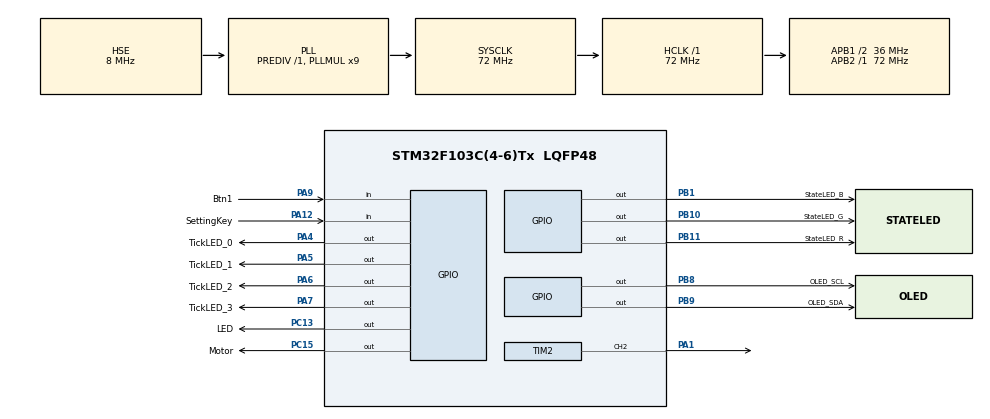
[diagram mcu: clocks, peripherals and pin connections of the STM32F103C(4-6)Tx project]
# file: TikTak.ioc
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Mcu.Family=STM32F1
Mcu.Name=STM32F103C(4-6)Tx
Mcu.Package=LQFP48
NVIC.PriorityGroup=NVIC_PRIORITYGROUP_4
NVIC.TIM2_IRQn=true\:3\:0\:true\:false\:true\:true\:true\:true
NVIC.TIM3_IRQn=true\:0\:0\:true\:false\:true\:true\:true\:true
PA1.Signal=S_TIM2_CH2
PA12.GPIO_Label=SettingKey
PA12.GPIO_PuPd=GPIO_PULLUP
PA12.Signal=GPIO_Input
PA13.Mode=Serial_Wire
PA13.Signal=SYS_JTMS-SWDIO
PA14.Mode=Serial_Wire
PA14.Signal=SYS_JTCK-SWCLK
PA4.GPIO_Label=TickLED_0
PA4.GPIO_ModeDefaultOutputPP=GPIO_MODE_OUTPUT_PP
PA4.GPIO_PuPd=GPIO_PULLDOWN
PA4.GPIO_Speed=GPIO_SPEED_FREQ_HIGH
PA4.PinState=GPIO_PIN_SET
PA4.Signal=GPIO_Output
PA5.GPIO_Label=TickLED_1
PA5.GPIO_ModeDefaultOutputPP=GPIO_MODE_OUTPUT_PP
PA5.GPIO_PuPd=GPIO_PULLDOWN
PA5.GPIO_Speed=GPIO_SPEED_FREQ_HIGH
PA5.PinState=GPIO_PIN_SET
PA5.Signal=GPIO_Output
PA6.GPIO_Label=TickLED_2
PA6.GPIO_ModeDefaultOutputPP=GPIO_MODE_OUTPUT_PP
PA6.GPIO_PuPd=GPIO_PULLDOWN
PA6.GPIO_Speed=GPIO_SPEED_FREQ_HIGH
PA6.PinState=GPIO_PIN_SET
PA6.Signal=GPIO_Output
PA7.GPIO_Label=TickLED_3
PA7.GPIO_ModeDefaultOutputPP=GPIO_MODE_OUTPUT_PP
PA7.GPIO_PuPd=GPIO_PULLDOWN
PA7.GPIO_Speed=GPIO_SPEED_FREQ_HIGH
PA7.PinState=GPIO_PIN_SET
PA7.Signal=GPIO_Output
PA9.GPIO_Label=Btn1
PA9.GPIO_PuPd=GPIO_PULLUP
PA9.Signal=GPIO_Input
PB1.GPIO_Label=StateLED_B
PB1.GPIO_ModeDefaultOutputPP=GPIO_MODE_OUTPUT_PP
PB1.GPIO_PuPd=GPIO_PULLDOWN
PB1.GPIO_Speed=GPIO_SPEED_FREQ_HIGH
PB1.PinState=GPIO_PIN_SET
PB1.Signal=GPIO_Output
PB10.GPIO_Label=StateLED_G
PB10.GPIO_ModeDefaultOutputPP=GPIO_MODE_OUTPUT_PP
PB10.GPIO_PuPd=GPIO_PULLDOWN
PB10.GPIO_Speed=GPIO_SPEED_FREQ_HIGH
PB10.PinState=GPIO_PIN_SET
PB10.Signal=GPIO_Output
PB11.GPIO_Label=StateLED_R
PB11.GPIO_ModeDefaultOutputPP=GPIO_MODE_OUTPUT_PP
PB11.GPIO_PuPd=GPIO_PULLDOWN
PB11.GPIO_Speed=GPIO_SPEED_FREQ_HIGH
PB11.PinState=GPIO_PIN_SET
PB11.Signal=GPIO_Output
PB8.GPIO_Label=OLED_SCL
PB8.GPIO_ModeDefaultOutputPP=GPIO_MODE_OUTPUT_PP
PB8.GPIO_PuPd=GPIO_PULLUP
PB8.GPIO_Speed=GPIO_SPEED_FREQ_HIGH
PB8.PinState=GPIO_PIN_SET
PB8.Signal=GPIO_Output
PB9.GPIO_Label=OLED_SDA
PB9.GPIO_ModeDefaultOutputPP=GPIO_MODE_OUTPUT_PP
PB9.GPIO_PuPd=GPIO_PULLUP
PB9.GPIO_Speed=GPIO_SPEED_FREQ_HIGH
PB9.PinState=GPIO_PIN_SET
PB9.Signal=GPIO_Output
PC13-TAMPER-RTC.GPIO_Label=LED
PC13-TAMPER-RTC.GPIO_ModeDefaultOutputPP=GPIO_MODE_OUTPUT_PP
PC13-TAMPER-RTC.GPIO_PuPd=GPIO_PULLUP
PC13-TAMPER-RTC.GPIO_Speed=GPIO_SPEED_FREQ_HIGH
PC13-TAMPER-RTC.PinState=GPIO_PIN_SET
PC13-TAMPER-RTC.Signal=GPIO_Output
PC15-OSC32_OUT.GPIO_Label=Motor
PC15-OSC32_OUT.GPIO_ModeDefaultOutputPP=GPIO_MODE_OUTPUT_PP
PC15-OSC32_OUT.GPIO_PuPd=GPIO_PULLDOWN
PC15-OSC32_OUT.GPIO_Speed=GPIO_SPEED_FREQ_HIGH
PC15-OSC32_OUT.PinState=GPIO_PIN_SET
PC15-OSC32_OUT.Signal=GPIO_Output
PD0-OSC_IN.Mode=HSE-External-Oscillator
PD0-OSC_IN.Signal=RCC_OSC_IN
PD1-OSC_OUT.Mode=HSE-External-Oscillator
PD1-OSC_OUT.Signal=RCC_OSC_OUT
ProjectManager.HeapSize=0x200
ProjectManager.StackSize=0x400
ProjectManager.TargetToolchain=STM32CubeIDE
RCC.AHBFreq_Value=72000000
RCC.APB1CLKDivider=RCC_HCLK_DIV2
RCC.APB1Freq_Value=36000000
RCC.APB1TimFreq_Value=72000000
RCC.APB2Freq_Value=72000000
RCC.APB2TimFreq_Value=72000000
RCC.HCLKFreq_Value=72000000
RCC.PLLMUL=RCC_PLL_MUL9
RCC.PLLSourceVirtual=RCC_PLLSOURCE_HSE
RCC.SYSCLKFreq_VALUE=72000000
RCC.SYSCLKSource=RCC_SYSCLKSOURCE_PLLCLK
RCC.USBFreq_Value=72000000
SH.S_TIM2_CH2.0=TIM2_CH2,PWM Generation2 CH2
TIM2.AutoReloadPreload=TIM_AUTORELOAD_PRELOAD_DISABLE
TIM2.Channel-PWM\ Generation2\ CH2=TIM_CHANNEL_2
TIM2.OCFastMode_PWM-PWM\ Generation2\ CH2=TIM_OCFAST_ENABLE
TIM2.OCMode_PWM-PWM\ Generation2\ CH2=TIM_OCMODE_PWM2
TIM2.OCPolarity_2=TIM_OCPOLARITY_LOW
TIM2.Period=1136
TIM2.Prescaler=72-1
TIM2.Pulse-PWM\ Generation2\ CH2=568
TIM2.TIM_MasterOutputTrigger=TIM_TRGO_RESET
TIM3.AutoReloadPreload=TIM_AUTORELOAD_PRELOAD_ENABLE
TIM3.Period=5000
TIM3.Prescaler=72-1
VP_TIM2_VS_ClockSourceINT.Mode=Internal
VP_TIM3_VS_ClockSourceINT.Mode=Internal
board=custom

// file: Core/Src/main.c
/* USER CODE BEGIN Header */
/**
  ******************************************************************************
  * @file           : main.c
  * @brief          : Main program body
  ******************************************************************************
  * @attention
  *
  * Copyright (c) 2023 STMicroelectronics.
  * All rights reserved.
  *
  * This software is licensed under terms that can be found in the LICENSE file
  * in the root directory of this software component.
  * If no LICENSE file comes with this software, it is provided AS-IS.
  *
  ******************************************************************************
  */
/* USER CODE END Header */
#include "main.h"
#include "tim.h"
#include "gpio.h"

/* USER CODE BEGIN PV */
#define SettingKey_id 0
#define Btn1_id 1
/* USER CODE END PV */

void SystemClock_Config(void);
/* USER CODE BEGIN PFP */
uint8_t App_State = 0;
struct Button Setting,Btn1;
uint8_t SettingFlag = 0,Setting_Next_Flag = 0;
uint8_t Btn1_AddFlag = 0,Value_Add_direction_flag = 1;
uint8_t display_flag = 0,Play_Flag = 1,Practice_Flag = 0;
uint8_t Practice_TIM_Res_Flag=0;
/* USER CODE END PFP */

/* USER CODE BEGIN 0 */
void display();
void display_Struct();
uint8_t State_Change_Check();
_Noreturn void Application();

uint8_t read_button_GPIO(uint8_t button_id)
{
    switch(button_id)
    {
        case SettingKey_id:
            return HAL_GPIO_ReadPin(SettingKey_GPIO_Port,SettingKey_Pin);
            break;
        case Btn1_id:
            return HAL_GPIO_ReadPin(Btn1_GPIO_Port,Btn1_Pin);
            break;
        default:
            return 0;
            break;
    }
}

void SettingKey_SINGLE_Click_Handler(void* btn)
{
    if(App_State == 1)
    {
        Setting_Next_Flag = 1;
    }
    else if(App_State == 0 || App_State==3)
    {
        Play_Flag = 0;
    }
    else if(App_State == 2 )
    {
        Play_Flag = 1;
    }
}
void SettingKey_DOUBLE_Click_Handler(void* btn)
{
    if(App_State !=0 && App_State !=1)return;
   if(SettingFlag == 0)
   {
       SettingFlag = 1;
//       OLED_Clear();
//       App_State = 1;
//       HAL_TIM_PWM_Stop_IT(&htim2,TIM_CHANNEL_2);
   }
   else
   {
       SettingFlag = 0;
//       OLED_Clear();
//       App_State = 0;
   }
}

void Btn1_SINGLE_Click_Handler(void* btn)
{

    if(App_State!=1)return;
    HAL_GPIO_TogglePin(LED_GPIO_Port,LED_Pin);
    Btn1_AddFlag = 1;
}
void Btn1_LONG_PRESS_HOLD_Handler(void *btn)
{
    if(App_State!=1)return;
//    HAL_GPIO_TogglePin(LED_GPIO_Port,LED_Pin);
    Btn1_AddFlag = 1;
}
void Btn1_DOUBLE_Click_Handler(void * btn)
{
    if(App_State == 1)
    {
        Value_Add_direction_flag = !Value_Add_direction_flag;
    }
    else if(App_State == 0 || App_State == 3)
    {
        Practice_Flag = 1;
    }
}
/* USER CODE END 0 */

int main(void)
{

  /* MCU Configuration--------------------------------------------------------*/

  /* Reset of all peripherals, Initializes the Flash interface and the Systick. */
  HAL_Init();

  /* Configure the system clock */
  SystemClock_Config();

  /* Initialize all configured peripherals */
  MX_GPIO_Init();
  MX_TIM2_Init();
  MX_TIM3_Init();
  /* USER CODE BEGIN 2 */

    button_init(&Setting,read_button_GPIO,1,SettingKey_id);
    button_attach(&Setting,SINGLE_CLICK,SettingKey_SINGLE_Click_Handler);
    button_attach(&Setting,DOUBLE_CLICK,SettingKey_DOUBLE_Click_Handler);

    button_start(&Setting);

    button_init(&Btn1,read_button_GPIO,1,Btn1_id);
    button_attach(&Btn1,SINGLE_CLICK,Btn1_SINGLE_Click_Handler);
    button_attach(&Btn1,LONG_PRESS_HOLD,Btn1_LONG_PRESS_HOLD_Handler);
    button_attach(&Btn1,DOUBLE_CLICK,Btn1_DOUBLE_Click_Handler);
    button_start(&Btn1);

    Tick_Init();
    HAL_TIM_Base_Start_IT(&htim3);

    OLED_Init();
    OLED_ShowString(2,5,"Hello");
    HAL_Delay(2000);
    OLED_Clear();
    Application();
  /* USER CODE END 2 */

  /* Infinite loop */
  while (1)
  {

  }
}

void SystemClock_Config(void)
{
  RCC_OscInitTypeDef RCC_OscInitStruct = {0};
  RCC_ClkInitTypeDef RCC_ClkInitStruct = {0};

  /** Initializes the RCC Oscillators according to the specified parameters
  * in the RCC_OscInitTypeDef structure.
  */
  RCC_OscInitStruct.OscillatorType = RCC_OSCILLATORTYPE_HSE;
  RCC_OscInitStruct.HSEState = RCC_HSE_ON;
  RCC_OscInitStruct.HSEPredivValue = RCC_HSE_PREDIV_DIV1;
  RCC_OscInitStruct.HSIState = RCC_HSI_ON;
  RCC_OscInitStruct.PLL.PLLState = RCC_PLL_ON;
  RCC_OscInitStruct.PLL.PLLSource = RCC_PLLSOURCE_HSE;
  RCC_OscInitStruct.PLL.PLLMUL = RCC_PLL_MUL9;
  if (HAL_RCC_OscConfig(&RCC_OscInitStruct) != HAL_OK)
  {
    Error_Handler();
  }

  /** Initializes the CPU, AHB and APB buses clocks
  */
  RCC_ClkInitStruct.ClockType = RCC_CLOCKTYPE_HCLK|RCC_CLOCKTYPE_SYSCLK
                              |RCC_CLOCKTYPE_PCLK1|RCC_CLOCKTYPE_PCLK2;
  RCC_ClkInitStruct.SYSCLKSource = RCC_SYSCLKSOURCE_PLLCLK;
  RCC_ClkInitStruct.AHBCLKDivider = RCC_SYSCLK_DIV1;
  RCC_ClkInitStruct.APB1CLKDivider = RCC_HCLK_DIV2;
  RCC_ClkInitStruct.APB2CLKDivider = RCC_HCLK_DIV1;

  if (HAL_RCC_ClockConfig(&RCC_ClkInitStruct, FLASH_LATENCY_2) != HAL_OK)
  {
    Error_Handler();
  }
}

/* USER CODE BEGIN 4 */

_Noreturn void Application()
{
    while (1)
    {
        static uint8_t star_flag = 0;
        switch(App_State){
            case 0:  //run
                if(star_flag == 0)
                {
//                    OLED_Clear();
                    SettingBuff[0] = Nc;
                    SettingBuff[1] = Nd;
                    SettingBuff[2] = BPM;
                    star_flag = 1;   //already
                    display_flag = 1;
                    time_flag = 1;
                    Practice_TIM_Res_Flag = 0;

                    HAL_TIM_PWM_Start_IT(&htim2,TIM_CHANNEL_2);
                    HAL_GPIO_WritePin(StateLED_G_GPIO_Port,StateLED_G_Pin,GPIO_PIN_SET);
                    HAL_GPIO_WritePin(StateLED_B_GPIO_Port,StateLED_B_Pin,GPIO_PIN_RESET);
                    HAL_GPIO_WritePin(StateLED_R_GPIO_Port,StateLED_R_Pin,GPIO_PIN_RESET);
                    continue;
                }
                if(SettingFlag == 1)
                {
                    App_State = 1;
                    SettingFlag = 0;
                    continue;
                }

                if(Play_Flag == 0)
                {
                    App_State = 2;
                    continue;
                }
                if(Practice_Flag)
                {
                    App_State = 3;
                    Practice_Flag = 0;
                    continue;
                }

                break;
            case 1:   //setting
                time_flag = 0; //stop counting time
                HAL_TIM_PWM_Stop_IT(&htim2,TIM_CHANNEL_2);
                if(SettingFlag == 1)
                {
//                    OLED_Clear();
                    setTick(SettingBuff[0],SettingBuff[1],SettingBuff[2]);

                    App_State = 0;
                    SettingFlag = 0;
                }
                if(Setting_Next_Flag )
                {
                    Setting_FixIndex++;
                    Setting_FixIndex%=5;
                    Setting_Next_Flag = 0;
//                    OLED_Clear();
                }
                if(Btn1_AddFlag == 1)
                {
                    switch (Setting_FixIndex) {
                        case 0:
                            if(Value_Add_direction_flag)
                            {
                                SettingBuff[Setting_FixIndex]++;
                                if(SettingBuff[Setting_FixIndex]>16)
                                {
                                    SettingBuff[Setting_FixIndex] = 1;
                                }
                            }
                            else
                            {
                                SettingBuff[Setting_FixIndex]--;
                                if(SettingBuff[Setting_FixIndex]==0)
                                {
                                    SettingBuff[Setting_FixIndex] = 16;
                                }
                            }

                            break;
                        case 1:
                            if(Value_Add_direction_flag)
                            {
                                SettingBuff[Setting_FixIndex] =  SettingBuff[Setting_FixIndex] << 1;
                                if( SettingBuff[Setting_FixIndex] > 16)
                                {
                                    SettingBuff[Setting_FixIndex] = 2;
                                }
                            }
                            else
                            {
                                SettingBuff[Setting_FixIndex] =  SettingBuff[Setting_FixIndex] >> 1;
                                if( SettingBuff[Setting_FixIndex] < 2)
                                {
                                    SettingBuff[Setting_FixIndex] = 16;
                                }
                            }
                            break;
                        case 2:
                            if(Value_Add_direction_flag)
                            {
                                SettingBuff[Setting_FixIndex]++;
                                if( SettingBuff[Setting_FixIndex] >=400)
                                {
                                    SettingBuff[Setting_FixIndex] = 400;
                                }
                            }
                            else
                            {
                                SettingBuff[Setting_FixIndex]--;
                                if( SettingBuff[Setting_FixIndex] <=20)
                                {
                                    SettingBuff[Setting_FixIndex] = 20;
                                }
                            }

                            break;
                        case 3:
                            if(Value_Add_direction_flag)
                            {

                                SettingBuff[3]++;
                                SettingBuff[3] %= SettingBuff[0];
//                                if( SettingBuff[Setting_FixIndex] > SettingBuff[0])
//                                {
//                                    SettingBuff[Setting_FixIndex] = 1;
//                                }
                            }
                            else
                            {
                                if( SettingBuff[3] <=0)
                                {
                                    SettingBuff[3] = SettingBuff[0]-1;
                                }
                                else
                                {
                                    SettingBuff[3]--;
                                }

                            }
                            SettingBuff[4] = PlayQueueMode[SettingBuff[3]];
                            break;
                        case 4:
                            if(Value_Add_direction_flag)
                            {
                                SettingBuff[4]++;
                                SettingBuff[4]%=3;
                            }
                            else
                            {
                                if(SettingBuff[4] > 0)
                                {
                                    SettingBuff[4]--;
                                }
                               else
                                {
                                   SettingBuff[4]=2;
                                }

                            }
                            PlayQueueMode[SettingBuff[3]] = SettingBuff[4];
                            break;
                    }

                    HAL_GPIO_WritePin(StateLED_R_GPIO_Port,StateLED_R_Pin,GPIO_PIN_SET);
                    HAL_Delay(5);
                    HAL_GPIO_WritePin(StateLED_R_GPIO_Port,StateLED_R_Pin,GPIO_PIN_RESET);
                    Btn1_AddFlag = 0;

                }

                HAL_GPIO_WritePin(StateLED_B_GPIO_Port,StateLED_B_Pin,GPIO_PIN_SET);
                HAL_GPIO_WritePin(StateLED_R_GPIO_Port,StateLED_R_Pin,GPIO_PIN_RESET);
                HAL_GPIO_WritePin(StateLED_G_GPIO_Port,StateLED_G_Pin,GPIO_PIN_RESET);

                star_flag = 0;  //prepare
                break;
            case 2:
                time_flag = 0; //stop counting time
                if(Play_Flag == 1)
                {
                    if(star_flag)
                    {
                        App_State = 0;
                        star_flag = 0;  //prepare
                    }
                    else
                    {
                        App_State = 3;
//                        OLED_Clear();
                        HAL_TIM_PWM_Start_IT(&htim2,TIM_CHANNEL_2);
                    }
                    continue;
                }

                HAL_TIM_PWM_Stop_IT(&htim2,TIM_CHANNEL_2);
                HAL_GPIO_WritePin(StateLED_R_GPIO_Port,StateLED_R_Pin,GPIO_PIN_SET);

                HAL_GPIO_WritePin(StateLED_B_GPIO_Port,StateLED_B_Pin,GPIO_PIN_RESET);
                HAL_GPIO_WritePin(StateLED_G_GPIO_Port,StateLED_G_Pin,GPIO_PIN_RESET);

                break;
            case 3:
                if(Practice_Flag)
                {
                    Practice_Flag = 0;
                    App_State = 0;

                    continue;
                }
                if(!Play_Flag)
                {
                    App_State = 2;
                    continue;
                }
                star_flag = 0; //pre
                time_flag = 1;
                if(Sec%6==0 && Sec_Clear_flag)
                {
                    Sec_Clear_flag = 0;
                    Practice_TIM_Res_Flag = !Practice_TIM_Res_Flag;
                }

                HAL_GPIO_WritePin(StateLED_R_GPIO_Port,StateLED_R_Pin,GPIO_PIN_SET);
                HAL_GPIO_WritePin(StateLED_B_GPIO_Port,StateLED_B_Pin,GPIO_PIN_RESET);
                HAL_GPIO_WritePin(StateLED_G_GPIO_Port,StateLED_G_Pin,GPIO_PIN_SET);

                break;
            default: //stop

                HAL_TIM_PWM_Stop_IT(&htim2,TIM_CHANNEL_2);
                star_flag = 0;  //prepare
                break;
        }

        if(State_Change_Check()==1)
        {
            if(App_State != 2)
            {
                OLED_Clear();
            }
            display_Struct();
        }
        if(display_flag || App_State==1)
        {
            display_flag = 0;
            display();
        }
    }

}
void display_Struct()
{
    if(App_State == 0 || App_State == 3)
    {
        OLED_ShowNum(1,1,Nc,2);
        OLED_ShowChar(1,3,'/');
        OLED_ShowNum(1,4,Nd,2);
        OLED_ShowString(2,1,"BPM:");
        OLED_ShowNum(2,5,BPM,3);

        OLED_ShowString(4,1,"pt:");
        OLED_ShowNum(4,4,Hour,2);
        OLED_ShowString(4,6,"h");
        OLED_ShowNum(4,8,Min,2);
        OLED_ShowString(4,10,"m");
        OLED_ShowNum(4,12,Sec,2);
        OLED_ShowString(4,14,"s");
    }
    else if(App_State == 1)
    {
        OLED_ShowNum(1,1,SettingBuff[0],2);
        OLED_ShowChar(1,3,'/');
        OLED_ShowNum(1,4,SettingBuff[1],2);
        OLED_ShowString(2,1,"BPM:");
        OLED_ShowNum(2,5,SettingBuff[2],3);
        OLED_ShowString(4,1,"Key:");
        OLED_ShowNum(4,5,SettingBuff[3]+1,2);
        OLED_ShowString(4,9,"pitch:");
        OLED_ShowChar(4,16,Str_pitch[SettingBuff[4]]);
        if(Value_Add_direction_flag)
        {
            OLED_ShowChar(3,14,'+');
        }
        else
        {
            OLED_ShowChar(3,14,'-');
        }
        switch (Setting_FixIndex) {
            case 0:
                OLED_ShowString(1,12,"  Nc ");
                break;
            case 1:
                OLED_ShowString(1,12,"  Nd ");
                break;
            case 2:
                OLED_ShowString(1,12,"  BPM");
                break;
            case 3:
                OLED_ShowString(1,12,"  Key");
                break;
            case 4:
                OLED_ShowString(1,12,"pitch");
        }
    }
    else if(App_State == 2)
    {
        OLED_ShowString(1,14,"||");
    }

}
void display()
{
    if((App_State == 0) || (App_State == 3))
    {
//        OLED_ShowNum(1,1,Nc,2);
//        OLED_ShowChar(1,3,'/');
//        OLED_ShowNum(1,4,Nd,2);
//        OLED_ShowString(2,1,"BPM:");
//        OLED_ShowNum(2,5,BPM,3);
//
//        OLED_ShowString(4,1,"pt:");
        OLED_ShowNum(4,4,Hour,2);
//        OLED_ShowString(4,6,"h");
        OLED_ShowNum(4,8,Min,2);
//        OLED_ShowString(4,10,"m");
        OLED_ShowNum(4,12,Sec,2);
//        OLED_ShowString(4,14,"s");

    }
    else if(App_State == 1)
    {
        OLED_ShowNum(1,1,SettingBuff[0],2);
//        OLED_ShowChar(1,3,'/');
        OLED_ShowNum(1,4,SettingBuff[1],2);
//        OLED_ShowString(2,1,"BPM:");
        OLED_ShowNum(2,5,SettingBuff[2],3);
//        OLED_ShowString(4,1,"Key:");
        OLED_ShowNum(4,5,SettingBuff[3]+1,2);
//        OLED_ShowString(4,9,"pitch:");
        OLED_ShowChar(4,16,Str_pitch[SettingBuff[4]]);
        if(Value_Add_direction_flag)
        {
            OLED_ShowChar(3,14,'+');
        }
        else
        {
            OLED_ShowChar(3,14,'-');
        }
        switch (Setting_FixIndex) {
            case 0:
                OLED_ShowString(1,12,"  Nc ");
                break;
            case 1:
                OLED_ShowString(1,12,"  Nd ");
                break;
            case 2:
                OLED_ShowString(1,12,"  BPM");
                break;
            case 3:
                OLED_ShowString(1,12,"  Key");
                break;
            case 4:
                OLED_ShowString(1,12,"pitch");
        }
    }
//    else if(App_State == 2)
//    {
//        OLED_ShowString(1,14,"||");
//    }

}

uint8_t State_Change_Check()
{
    static uint8_t OldState=255;
    if(OldState != App_State)
    {
        OldState = App_State;
        return 1;
    }
    else
        return 0;
}
/* USER CODE END 4 */

void Error_Handler(void)
{
  __disable_irq();
  while (1)
  {
  }
}
